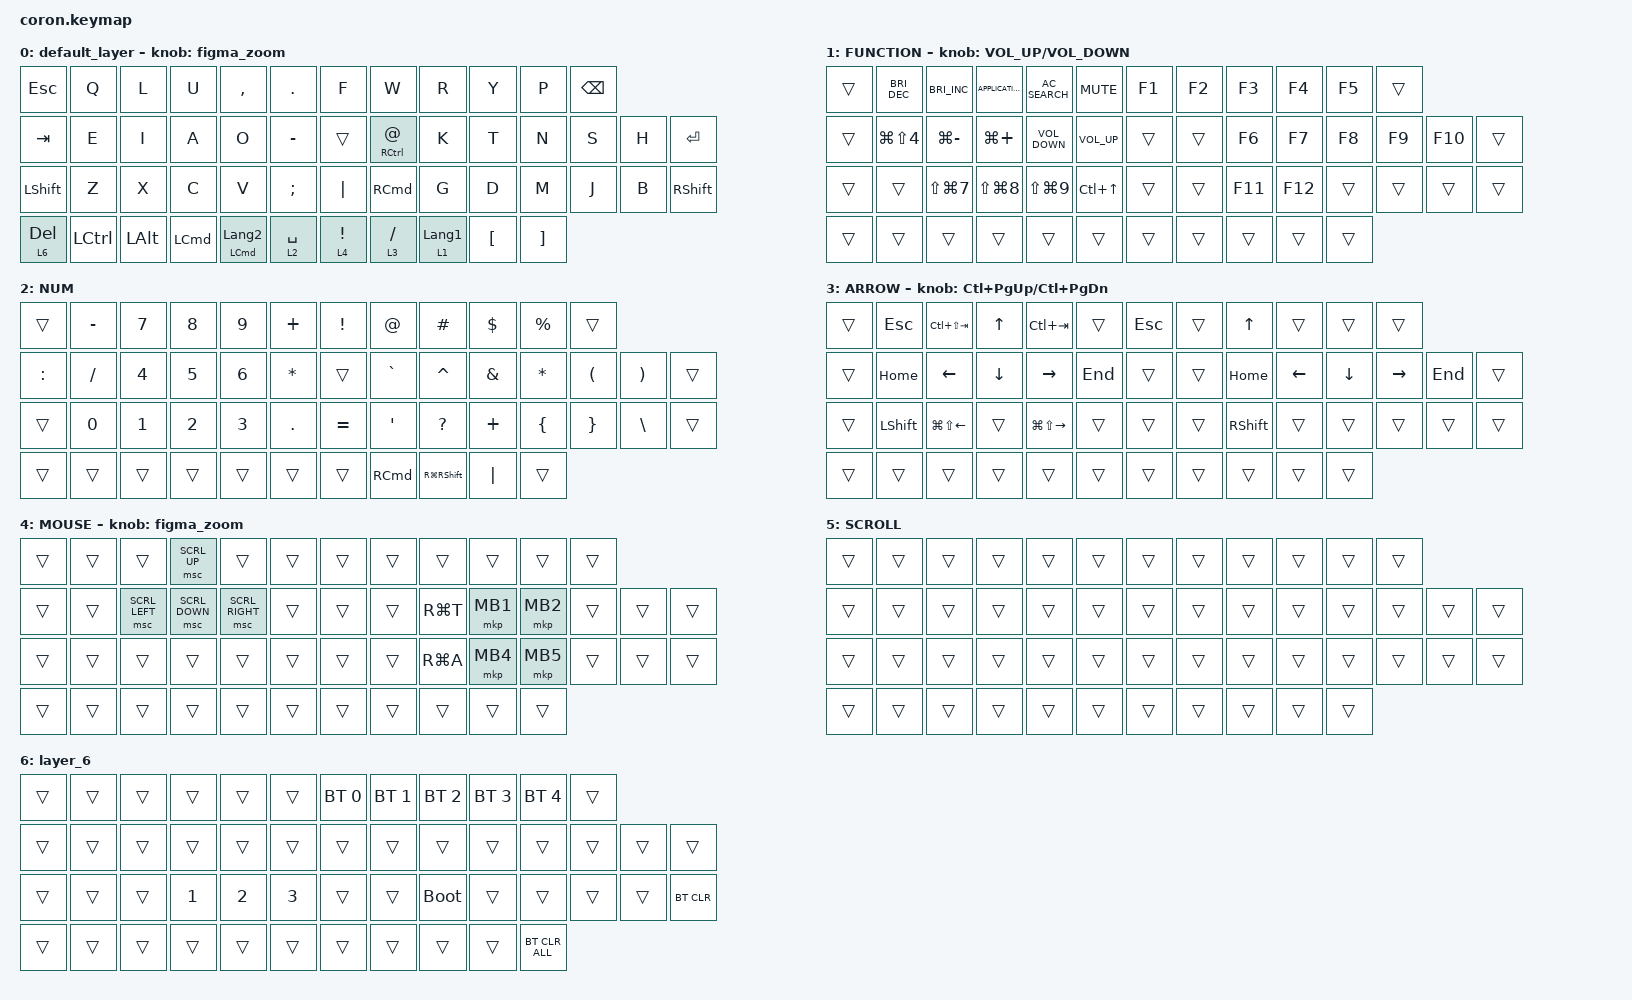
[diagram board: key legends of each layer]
/* coron.keymap */

#include <behaviors.dtsi>
#include <dt-bindings/zmk/bt.h>
#include <dt-bindings/zmk/keys.h>
#include <dt-bindings/zmk/pointing.h>

&mt {
    flavor = "balanced";
    quick-tap-ms = <0>;
};

&trackball {
    automouse-layer = <4>;
    scroll-layers = <5>;
};

/ {
    combos {
        compatible = "zmk,combos";

        /* Note: Key positions have shifted due to added columns.
           You will need to recalculate these indices later. */

        tab {
            bindings = <&kp TAB>;
            key-positions = <11 12>;
        };

        shift_tab {
            bindings = <&kp LS(TAB)>;
            key-positions = <12 13>;
        };

        muhennkann {
            bindings = <&to_layer_0 INT_MUHENKAN>;
            key-positions = <11 10>;
        };

        double_quotation {
            bindings = <&kp DOUBLE_QUOTES>;
            key-positions = <20 21>;
        };

        eq {
            bindings = <&kp EQUAL>;
            key-positions = <24 25>;
        };
    };

    macros {
        to_layer_0: to_layer_0 {
            compatible = "zmk,behavior-macro-one-param";
            #binding-cells = <1>;
            bindings = <&to 0 &macro_param_1to1 &kp MACRO_PLACEHOLDER>;
            label = "TO_LAYER_0";
        };

        // ダブルタップ判定を確実に回避するズームアウトマクロ

        macro_zoom_out: macro_zoom_out {
            compatible = "zmk,behavior-macro";
            #binding-cells = <0>;
            wait-ms = <10>;
            tap-ms = <20>;
            bindings =
                <&macro_press>,
                <&kp LGUI>,
                <&macro_tap>,
                <&kp MINUS>,
                <&macro_release>,
                <&kp LGUI>;
        };

        // ダブルタップ判定を確実に回避するズームインマクロ

        macro_zoom_in: macro_zoom_in {
            compatible = "zmk,behavior-macro";
            #binding-cells = <0>;
            wait-ms = <10>;
            tap-ms = <20>;
            bindings =
                <&macro_press>,
                <&kp LGUI>,
                <&macro_tap>,
                <&kp EQUAL>,
                <&macro_release>,
                <&kp LGUI>;
        };
    };

    behaviors {
        lt_to_layer_0: lt_to_layer_0 {
            compatible = "zmk,behavior-hold-tap";
            label = "LAYER_TAP_TO_0";
            bindings = <&mo>, <&to_layer_0>;

            #binding-cells = <2>;
            tapping-term-ms = <200>;
        };

        // マクロをエンコーダーの回転動作としてバインド

        figma_zoom: figma_zoom {
            compatible = "zmk,behavior-sensor-rotate";
            #sensor-binding-cells = <0>;

            // 左回転（CCW）で縮、右回転（CW）で拡

            bindings = <&macro_zoom_out>, <&macro_zoom_in>;

            tap-ms = <10>;
        };
    };

    keymap {
        compatible = "zmk,keymap";

        default_layer {
            bindings = <
&kp ESC         &kp Q      &kp L         &kp U             &kp COMMA                    &kp PERIOD     &kp F       &kp W                      &kp R             &kp Y             &kp P              &kp BACKSPACE
&kp TAB         &kp E      &kp I         &kp A             &kp O                        &kp MINUS      &trans      &mt RIGHT_CONTROL AT_SIGN  &kp K             &kp T             &kp N              &kp S          &kp H  &kp ENTER
&kp LEFT_SHIFT  &kp Z      &kp X         &kp C             &kp V                        &kp SEMICOLON  &kp PIPE    &kp RIGHT_COMMAND          &kp G             &kp D             &kp M              &kp J          &kp B  &kp RIGHT_SHIFT
&lt 6 DEL       &kp LCTRL  &kp LEFT_ALT  &kp LEFT_COMMAND  &mt LEFT_COMMAND LANGUAGE_2  &lt 2 SPACE    &lt 4 EXCL  &lt 3 SLASH                &lt 1 LANGUAGE_1  &kp LEFT_BRACKET  &kp RIGHT_BRACKET
            >;

            // 新しいマクロによるズーム制御に変更（1つのエンコーダー用）

            sensor-bindings = <&figma_zoom>;
        };

        FUNCTION {
            bindings = <
&trans  &kp C_BRIGHTNESS_DEC  &kp C_BRIGHTNESS_INC  &kp K_APPLICATION  &kp C_AC_SEARCH    &kp K_MUTE        &kp F1  &kp F2  &kp F3   &kp F4   &kp F5  &trans
&trans  &kp LG(LS(NUMBER_4))  &kp LG(MINUS)         &kp LG(PLUS)       &kp K_VOLUME_DOWN  &kp K_VOLUME_UP   &trans  &trans  &kp F6   &kp F7   &kp F8  &kp F9  &kp F10  &trans
&trans  &trans                &kp LS(LG(N7))        &kp LS(LG(N8))     &kp LS(LG(N9))     &kp LC(UP_ARROW)  &trans  &trans  &kp F11  &kp F12  &trans  &trans  &trans   &trans
&trans  &trans                &trans                &trans             &trans             &trans            &trans  &trans  &trans   &trans   &trans
            >;

            sensor-bindings = <&inc_dec_kp C_VOLUME_UP C_VOLUME_DOWN>;
        };

        NUM {
            bindings = <
&trans     &kp MINUS     &kp NUMBER_7  &kp NUMBER_8  &kp NUMBER_9  &kp PLUS      &kp EXCLAMATION  &kp AT_SIGN        &kp HASH             &kp DOLLAR     &kp PERCENT     &trans
&kp COLON  &kp SLASH     &kp NUMBER_4  &kp NUMBER_5  &kp NUMBER_6  &kp ASTERISK  &trans           &kp GRAVE          &kp CARET            &kp AMPERSAND  &kp ASTERISK    &kp LEFT_PARENTHESIS  &kp RIGHT_PARENTHESIS  &trans
&trans     &kp NUMBER_0  &kp NUMBER_1  &kp NUMBER_2  &kp NUMBER_3  &kp PERIOD    &kp EQUAL        &kp SQT            &kp QUESTION         &kp PLUS       &kp LEFT_BRACE  &kp RIGHT_BRACE       &kp BACKSLASH          &trans
&trans     &trans        &trans        &trans        &trans        &trans        &trans           &kp RIGHT_COMMAND  &kp RG(RIGHT_SHIFT)  &kp PIPE       &trans
            >;
        };

        ARROW {
            bindings = <
&trans  &kp ESCAPE      &kp LC(LS(TAB))         &kp UP_ARROW    &kp LC(TAB)              &trans   &kp ESC  &trans  &kp UP_ARROW     &trans          &trans          &trans
&trans  &kp HOME        &kp LEFT_ARROW          &kp DOWN_ARROW  &kp RIGHT_ARROW          &kp END  &trans   &trans  &kp HOME         &kp LEFT_ARROW  &kp DOWN_ARROW  &kp RIGHT_ARROW  &kp END  &trans
&trans  &kp LEFT_SHIFT  &kp LG(LS(LEFT_ARROW))  &trans          &kp LG(LS(RIGHT_ARROW))  &trans   &trans   &trans  &kp RIGHT_SHIFT  &trans          &trans          &trans           &trans   &trans
&trans  &trans          &trans                  &trans          &trans                   &trans   &trans   &trans  &trans           &trans          &trans
            >;

            sensor-bindings = <&inc_dec_kp LC(PAGE_UP) LC(PAGE_DOWN)>;
        };

        MOUSE {
            bindings = <
&trans  &trans  &trans          &msc SCRL_UP    &trans           &trans  &trans  &trans  &trans     &trans    &trans    &trans
&trans  &trans  &msc SCRL_LEFT  &msc SCRL_DOWN  &msc SCRL_RIGHT  &trans  &trans  &trans  &kp RG(T)  &mkp MB1  &mkp MB2  &trans  &trans  &trans
&trans  &trans  &trans          &trans          &trans           &trans  &trans  &trans  &kp RG(A)  &mkp MB4  &mkp MB5  &trans  &trans  &trans
&trans  &trans  &trans          &trans          &trans           &trans  &trans  &trans  &trans     &trans    &trans
            >;

            // MOUSEレイヤーもマクロ動作に変更

            sensor-bindings = <&figma_zoom>;
        };

        SCROLL {
            bindings = <
&trans  &trans  &trans  &trans  &trans  &trans  &trans  &trans  &trans  &trans  &trans  &trans
&trans  &trans  &trans  &trans  &trans  &trans  &trans  &trans  &trans  &trans  &trans  &trans  &trans  &trans
&trans  &trans  &trans  &trans  &trans  &trans  &trans  &trans  &trans  &trans  &trans  &trans  &trans  &trans
&trans  &trans  &trans  &trans  &trans  &trans  &trans  &trans  &trans  &trans  &trans
            >;
        };

        layer_6 {
            bindings = <
&trans  &trans  &trans  &trans        &trans        &trans        &bt BT_SEL 0  &bt BT_SEL 1  &bt BT_SEL 2  &bt BT_SEL 3  &bt BT_SEL 4    &trans
&trans  &trans  &trans  &trans        &trans        &trans        &trans        &trans        &trans        &trans        &trans          &trans  &trans  &trans
&trans  &trans  &trans  &kp NUMBER_1  &kp NUMBER_2  &kp NUMBER_3  &trans        &trans        &bootloader   &trans        &trans          &trans  &trans  &bt BT_CLR
&trans  &trans  &trans  &trans        &trans        &trans        &trans        &trans        &trans        &trans        &bt BT_CLR_ALL
            >;
        };
    };
};
